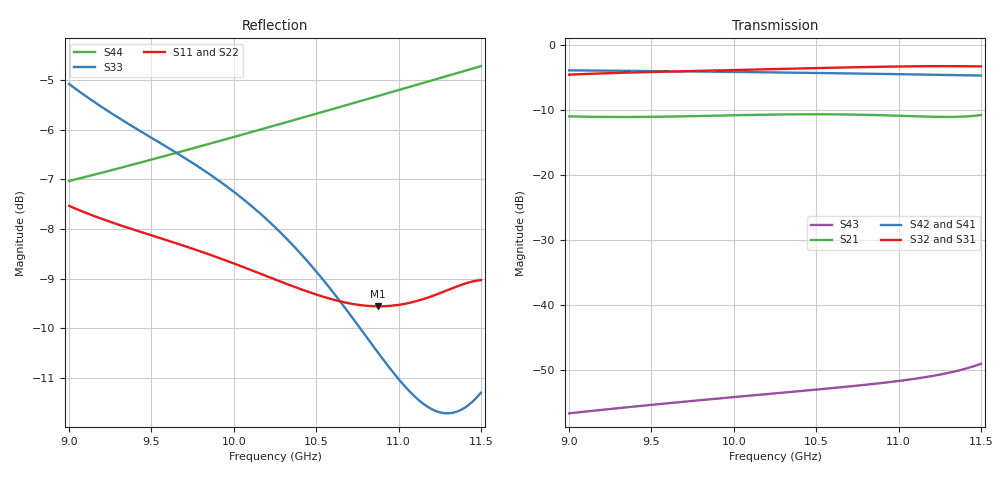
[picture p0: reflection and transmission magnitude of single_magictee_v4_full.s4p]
! Generated from PyAEDT SolutionData; AEDT ExportNetworkData workaround
# GHz S MA R 50
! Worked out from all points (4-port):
!   101 points, 9 GHz to 11.5 GHz, reference 50 ohm
!   strongest paths, dB at 9 GHz, 9.625 GHz, 10.25 GHz, 10.88 GHz, 11.5 GHz:
!     S32: -4.6, -4.1, -3.8, -3.4, -3.4
!     S31: -4.6, -4.1, -3.8, -3.4, -3.3
!     S42: -4.0, -4.1, -4.3, -4.5, -4.8
!     S41: -4.0, -4.1, -4.3, -4.5, -4.8
!     S21: -11.0, -11.1, -10.8, -10.9, -10.8
!     S43: -56.7, -55.1, -53.7, -52.1, -49.1
!   lowest |S11| = -9.6 dB at 10.88 GHz (marker M1), VSWR 2.00, Z = 25.2 + j3.16 ohm
!   |S11| at or under -10 dB: nowhere
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9  0.42 10.9  0.2805 -65.2  0.5871 -13.7  0.6326 44.0
   0.2805 -65.2  0.418 11.0  0.5872 -13.8  0.6338 -136.2
   0.5871 -13.7  0.5872 -13.8  0.5572 170.8  0.001456 -112.3
   0.6326 44.0  0.6338 -136.2  0.001456 -112.3  0.445 -140.9
9.4  0.3971 -36.4  0.2776 -121.2  0.611 -85.3  0.626 -1.1
     0.2776 -121.2  0.3946 -36.2  0.6111 -85.3  0.6275 178.8
     0.611 -85.3  0.6111 -85.3  0.5033 79.0  0.001643 171.6
     0.626 -1.1  0.6275 178.8  0.001643 171.6  0.4629 177.3
9.975  0.3689 -100.8  0.2855 162.4  0.6359 176.8  0.6149 -63.2
       0.2855 162.4  0.3656 -100.6  0.636 176.7  0.6167 116.6
       0.6359 176.8  0.636 176.7  0.4372 -45.4  0.001927 63.0
       0.6149 -63.2  0.6167 116.6  0.001927 63.0  0.4915 118.8
10.45  0.3443 -149.8  0.291 101.0  0.6572 97.9  0.6041 -113.0
       0.291 101.0  0.3404 -149.7  0.6573 97.9  0.6062 66.8
       0.6572 97.9  0.6573 97.9  0.3689 -146.3  0.002186 -26.7
       0.6041 -113.0  0.6062 66.8  0.002186 -26.7  0.5173 71.6
10.875  0.3328 170.4  0.2867 47.8  0.6748 27.1  0.5931 -156.6
        0.2867 47.8  0.3286 170.5  0.6747 27.1  0.5955 23.2
        0.6748 27.1  0.6747 27.1  0.299 117.7  0.002472 -106.6
        0.5931 -156.6  0.5955 23.2  0.002472 -106.6  0.5419 29.8
11.175  0.3395 143.0  0.2792 12.7  0.6823 -23.9  0.5842 173.0
        0.2792 12.7  0.335 143.2  0.6819 -23.9  0.5873 -7.2
        0.6823 -23.9  0.6819 -23.9  0.2637 42.7  0.002779 -162.3
        0.5842 173.0  0.5873 -7.2  0.002779 -162.3  0.5602 0.4
11.5  0.3536 109.4  0.2873 -21.1  0.681 -82.3  0.5733 140.3
      0.2873 -21.1  0.3485 109.8  0.6797 -82.3  0.578 -40.0
      0.681 -82.3  0.6797 -82.3  0.2723 -41.2  0.003501 138.3
      0.5733 140.3  0.578 -40.0  0.003501 138.3  0.5808 -31.3
